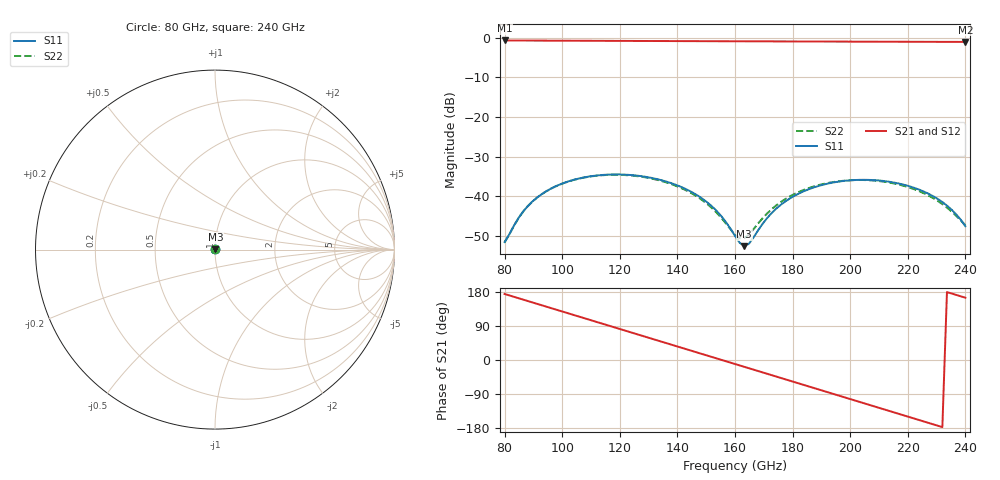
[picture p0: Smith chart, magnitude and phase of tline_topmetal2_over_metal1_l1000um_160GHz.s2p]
#  GHZ S DB R 50
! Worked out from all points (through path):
!   101 points, 80 GHz to 240 GHz, reference 50 ohm
!   highest |S21| = -0.65 dB at 80 GHz (marker M1); lowest = -1.0 dB at 240 GHz (marker M2)
!   group delay of S21, straight-line fit = 6.42 ps
!   lowest |S11| = -52.6 dB at 163.2 GHz (marker M3), VSWR 1.00, Z = 50.2 + j0.123 ohm
!   |S11| at or under -10 dB: start of sweep to end of sweep
!   |S22| runs from -51.6 to -34.6 dB; largest |S21 - S12| = 1.1e-14
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80  -51.59 46.5  -0.65 174.2  -0.65 174.2  -51.63 46.6
86.4  -43.91 -20.6  -0.66 159.5  -0.66 159.5  -43.93 -20.7
91.2  -40.38 -41.7  -0.68 148.4  -0.68 148.4  -40.40 -41.9
97.6  -37.54 -63.7  -0.69 133.6  -0.69 133.6  -37.56 -63.8
107.2  -35.31 -92.8  -0.72 111.4  -0.72 111.4  -35.35 -93.0
120  -34.51 -129.7  -0.76 81.8  -0.76 81.8  -34.60 -130.2
126.4  -34.84 -148.0  -0.77 67.1  -0.77 67.1  -34.97 -148.7
134.4  -35.94 -171.2  -0.79 48.6  -0.79 48.6  -36.14 -172.4
142.4  -38.01 164.6  -0.81 30.1  -0.81 30.1  -38.30 162.5
148.8  -40.69 143.2  -0.83 15.3  -0.83 15.3  -41.08 139.6
155.2  -44.99 116.0  -0.84 0.5  -0.84 0.5  -45.42 108.4
160  -50.02 79.8  -0.85 -10.6  -0.85 -10.6  -49.71 65.5
163.2  -52.63 31.6  -0.86 -18.0  -0.86 -18.0  -50.60 19.7
164.8  -52.05 3.7  -0.86 -21.7  -0.86 -21.7  -49.71 -2.1
174.4  -43.09 -71.8  -0.88 -43.9  -0.88 -43.9  -42.28 -68.9
187.2  -37.83 -115.4  -0.91 -73.5  -0.91 -73.5  -37.57 -113.6
200  -35.99 -152.3  -0.94 -103.1  -0.94 -103.1  -35.97 -151.9
214.4  -36.45 167.5  -0.97 -136.4  -0.97 -136.4  -36.66 165.7
222.4  -37.93 144.8  -0.98 -154.9  -0.98 -154.9  -38.28 140.8
230.4  -40.69 120.6  -1.00 -173.4  -1.00 -173.4  -41.19 112.3
235.2  -43.39 104.1  -1.00 175.5  -1.00 175.5  -43.87 90.3
240  -47.60 82.2  -1.01 164.4  -1.01 164.4  -47.33 57.3
